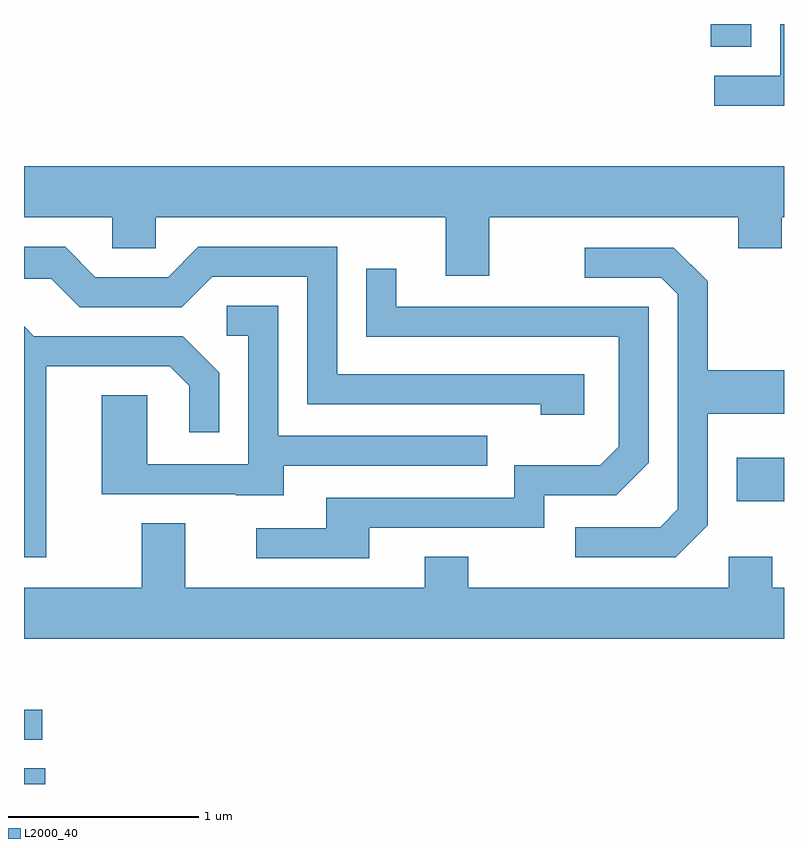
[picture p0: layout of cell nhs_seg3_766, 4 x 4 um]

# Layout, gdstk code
import gdstk
lib = gdstk.Library(unit=1e-6, precision=1e-09)
def R(c, l, rs):  # rectangles x0, y0, x1, y1
    for r in rs: c.add(gdstk.rectangle(r[:2], r[2:], *l))
def P(c, l, *ps):  # polygons
    for p in ps: c.add(gdstk.Polygon(p, *l))
L2000_40 = (2000, 40)

nhs_seg3_766 = lib.new_cell('nhs_seg3_766')
R(nhs_seg3_766, L2000_40, [(207.611,1151.892,207.724,1151.974), (207.611,1152.126,207.708,1152.284), (211.361,1153.381,211.611,1153.609), (211.226,1155.771,211.439,1155.892)])
P(nhs_seg3_766, L2000_40, [(211.611,1155.892),(211.591,1155.892),(211.591,1155.619),(211.243,1155.619),(211.243,1155.461),(211.611,1155.461)],
  [(210.059,1154.876),(211.371,1154.876),(211.371,1154.711),(211.599,1154.711),(211.599,1154.876),(211.611,1154.876),(211.611,1155.144),(207.611,1155.144),(207.611,1154.876),(208.076,1154.876),(208.076,1154.711),(208.304,1154.711),(208.304,1154.876),(209.831,1154.876),(209.831,1154.566),(210.059,1154.566)],
  [(210.559,1154.049),(209.259,1154.049),(209.259,1154.719),(208.529,1154.719),(208.369,1154.559),(207.987,1154.559),(207.827,1154.719),(207.611,1154.719),(207.611,1154.551),(207.754,1154.551),(207.904,1154.401),(208.442,1154.401),(208.602,1154.561),(209.101,1154.561),(209.101,1153.891),(210.331,1153.891),(210.331,1153.836),(210.559,1153.836)],
  [(211.209,1153.254),(211.209,1153.841),(211.611,1153.841),(211.611,1154.069),(211.209,1154.069),(211.209,1154.537),(211.032,1154.714),(210.563,1154.714),(210.563,1154.556),(210.964,1154.556),(211.051,1154.469),(211.051,1153.337),(210.959,1153.244),(210.513,1153.244),(210.513,1153.086),(211.042,1153.086)],
  [(209.429,1153.241),(210.349,1153.241),(210.349,1153.411),(210.727,1153.411),(210.899,1153.584),(210.899,1154.404),(209.569,1154.404),(209.569,1154.603),(209.411,1154.603),(209.411,1154.246),(210.741,1154.246),(210.741,1153.667),(210.644,1153.569),(210.191,1153.569),(210.191,1153.399),(209.201,1153.399),(209.201,1153.239),(208.833,1153.239),(208.833,1153.081),(209.429,1153.081)],
  [(208.979,1153.566),(210.048,1153.566),(210.048,1153.724),(208.949,1153.724),(208.949,1154.409),(208.678,1154.409),(208.678,1154.251),(208.791,1154.251),(208.791,1153.574),(208.259,1153.574),(208.259,1153.939),(208.021,1153.939),(208.021,1153.416),(208.725,1153.416),(208.725,1153.411),(208.979,1153.411)],
  [(207.729,1154.091),(208.379,1154.091),(208.481,1153.989),(208.481,1153.743),(208.639,1153.743),(208.639,1154.057),(208.447,1154.249),(207.662,1154.249),(207.611,1154.3),(207.611,1153.086),(207.729,1153.086)],
  [(211.611,1152.924),(211.549,1152.924),(211.549,1153.089),(211.321,1153.089),(211.321,1152.924),(209.949,1152.924),(209.949,1153.089),(209.721,1153.089),(209.721,1152.924),(208.459,1152.924),(208.459,1153.264),(208.231,1153.264),(208.231,1152.924),(207.611,1152.924),(207.611,1152.656),(211.611,1152.656)])

lib.write_gds('nhs_seg3_766.gds')
